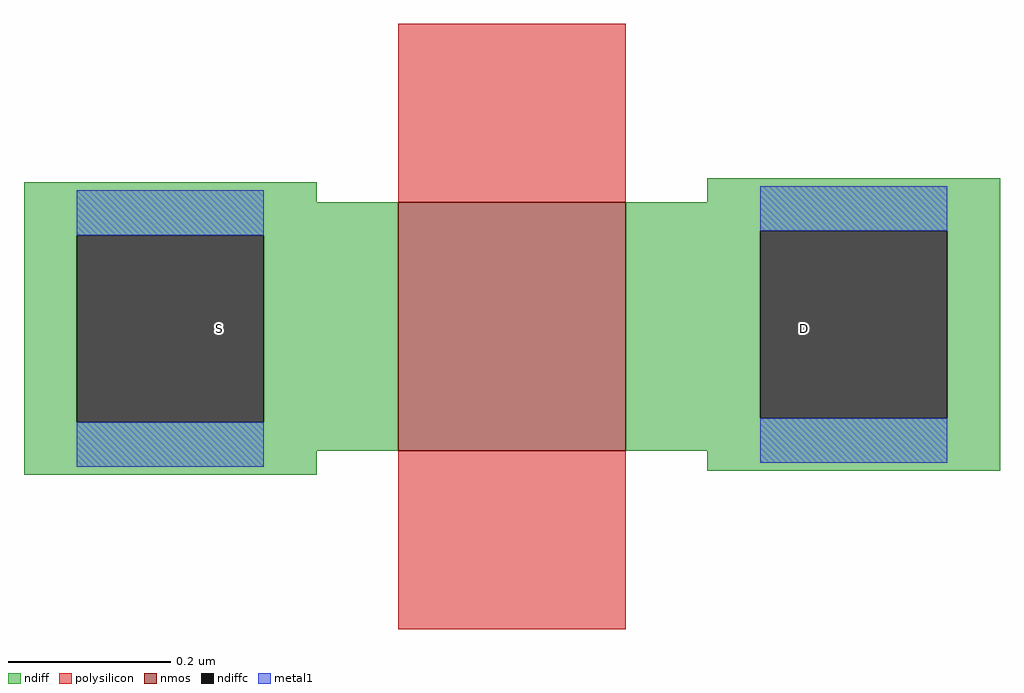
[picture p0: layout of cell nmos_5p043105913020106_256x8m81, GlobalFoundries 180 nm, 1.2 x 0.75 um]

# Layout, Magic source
magic
tech gf180mcuD
magscale 1 10
<< nmos >>
rect 0 0 56 61
<< ndiff >>
rect -92 61 -20 66
rect 76 61 148 67
rect -92 53 0 61
rect -92 7 -79 53
rect -33 7 0 53
rect -92 0 0 7
rect 56 54 148 61
rect 56 8 89 54
rect 135 8 148 54
rect 56 0 148 8
rect -92 -6 -20 0
rect 76 -5 148 0
<< ndiffc >>
rect -79 7 -33 53
rect 89 8 135 54
<< polysilicon >>
rect 0 61 56 105
rect 0 -44 56 0
<< metal1 >>
rect -79 53 -33 64
rect -79 -4 -33 7
rect 89 54 135 65
rect 89 -3 135 8
<< labels >>
flabel ndiffc -44 30 -44 30 0 FreeSans 93 0 0 0 S
flabel ndiffc 100 30 100 30 0 FreeSans 93 0 0 0 D
<< end >>
